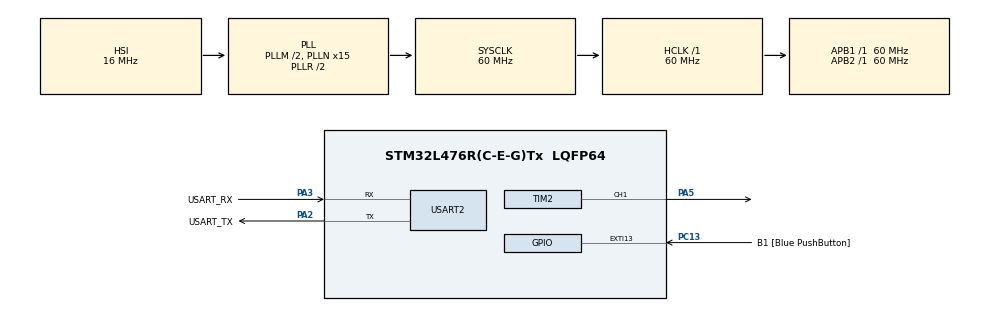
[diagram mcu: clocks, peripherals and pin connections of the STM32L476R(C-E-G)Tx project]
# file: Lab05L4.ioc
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ADC1.Channel-0\#ChannelRegularConversion=ADC_CHANNEL_TEMPSENSOR
ADC1.ClockPrescaler=ADC_CLOCK_SYNC_PCLK_DIV4
ADC1.ContinuousConvMode=DISABLE
ADC1.NbrOfConversion=1
ADC1.NbrOfConversionFlag=1
ADC1.OffsetNumber-0\#ChannelRegularConversion=ADC_OFFSET_NONE
ADC1.Rank-0\#ChannelRegularConversion=1
ADC1.SamplingTime-0\#ChannelRegularConversion=ADC_SAMPLETIME_640CYCLES_5
ADC1.master=1
Mcu.Family=STM32L4
Mcu.Name=STM32L476R(C-E-G)Tx
Mcu.Package=LQFP64
NVIC.EXTI15_10_IRQn=true\:0\:0\:false\:false\:true\:true\:true
NVIC.PriorityGroup=NVIC_PRIORITYGROUP_4
NVIC.TIM6_DAC_IRQn=true\:0\:0\:false\:false\:true\:true\:true
PA13\ (JTMS-SWDIO).GPIO_Label=TMS
PA13\ (JTMS-SWDIO).Mode=Serial_Wire
PA13\ (JTMS-SWDIO).Signal=SYS_JTMS-SWDIO
PA14\ (JTCK-SWCLK).GPIO_Label=TCK
PA14\ (JTCK-SWCLK).Mode=Serial_Wire
PA14\ (JTCK-SWCLK).Signal=SYS_JTCK-SWCLK
PA2.GPIO_Label=USART_TX
PA2.GPIO_Mode=GPIO_MODE_AF_PP
PA2.GPIO_PuPd=GPIO_NOPULL
PA2.GPIO_Speed=GPIO_SPEED_FREQ_VERY_HIGH
PA2.Mode=Asynchronous
PA2.Signal=USART2_TX
PA3.GPIO_Label=USART_RX
PA3.GPIO_Mode=GPIO_MODE_AF_PP
PA3.GPIO_PuPd=GPIO_NOPULL
PA3.GPIO_Speed=GPIO_SPEED_FREQ_VERY_HIGH
PA3.Mode=Asynchronous
PA3.Signal=USART2_RX
PA5.Signal=S_TIM2_CH1
PB3\ (JTDO-TRACESWO).GPIO_Label=SWO
PB3\ (JTDO-TRACESWO).Signal=SYS_JTDO-SWO
PC13.GPIO_Label=B1 [Blue PushButton]
PC13.GPIO_ModeDefaultEXTI=GPIO_MODE_IT_FALLING
PC13.GPIO_PuPd=GPIO_NOPULL
PC13.Signal=GPXTI13
PC14-OSC32_IN\ (PC14).Mode=LSE-External-Oscillator
PC14-OSC32_IN\ (PC14).Signal=RCC_OSC32_IN
PC15-OSC32_OUT\ (PC15).Mode=LSE-External-Oscillator
PC15-OSC32_OUT\ (PC15).Signal=RCC_OSC32_OUT
PH0-OSC_IN\ (PH0).Signal=RCC_OSC_IN
PH1-OSC_OUT\ (PH1).Signal=RCC_OSC_OUT
ProjectManager.HeapSize=0x200
ProjectManager.StackSize=0x400
ProjectManager.TargetToolchain=SW4STM32
RCC.ADCFreq_Value=32000000
RCC.AHBFreq_Value=60000000
RCC.APB1Freq_Value=60000000
RCC.APB1TimFreq_Value=60000000
RCC.APB2Freq_Value=60000000
RCC.APB2TimFreq_Value=60000000
RCC.CortexFreq_Value=60000000
RCC.HCLKFreq_Value=60000000
RCC.HSE_VALUE=8000000
RCC.HSI_VALUE=16000000
RCC.MSI_VALUE=4000000
RCC.PLLM=2
RCC.PLLN=15
RCC.PLLSourceVirtual=RCC_PLLSOURCE_HSI
RCC.PREFETCH_ENABLE=1
RCC.SYSCLKFreq_VALUE=60000000
RCC.SYSCLKSource=RCC_SYSCLKSOURCE_PLLCLK
RCC.USBFreq_Value=32000000
RCC.VCOOutputFreq_Value=120000000
SH.S_TIM2_CH1.0=TIM2_CH1,PWM Generation1 CH1
TIM2.Channel-PWM\ Generation1\ CH1=TIM_CHANNEL_1
TIM2.Period=9
TIM2.Prescaler=59999
TIM6.Period=499
TIM6.Prescaler=59999
USART2.VirtualMode-Asynchronous=VM_ASYNC
VP_ADC1_TempSens_Input.Mode=IN-TempSens
VP_TIM6_VS_ClockSourceINT.Mode=Enable_Timer
board=NUCLEO-L476RG

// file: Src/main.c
/* USER CODE BEGIN Header */
/**
  ******************************************************************************
  * @file           : main.c
  * @brief          : Main program body
  ******************************************************************************
  * @attention
  *
  * <h2><center>&copy; Copyright (c) 2019 STMicroelectronics.
  * All rights reserved.</center></h2>
  *
  * This software component is licensed by ST under BSD 3-Clause license,
  * the "License"; You may not use this file except in compliance with the
  * License. You may obtain a copy of the License at:
  *                        opensource.org/licenses/BSD-3-Clause
  *
  ******************************************************************************
  */
/* USER CODE END Header */

#include "main.h"

/* USER CODE BEGIN Includes */
#include <stdio.h>
/* USER CODE END Includes */

/* USER CODE BEGIN PTD */
#define Vref		3300.0f
#define Avg_Slope	2.50f
#define V25			760.0f

#define TS110 	((uint16_t*)((uint32_t) 0x1FFF75CA))// calibrated at 3.3V +-10mV @110C +/- 5C
#define TS30 	((uint16_t*)((uint32_t) 0x1FFF75A8))// calibrated at 3.3V +-10mV @ 30C +/- 5C
#define VREF    ((uint16_t*)((uint32_t) 0x1FFF75AA))// calibrated at 3.3V +-10mV @ 30C +/- 5C

/* USER CODE END PTD */

ADC_HandleTypeDef hadc1;

TIM_HandleTypeDef htim2;
TIM_HandleTypeDef htim6;

UART_HandleTypeDef huart2;

/* USER CODE BEGIN PV */

volatile uint16_t press_number = 0;

uint8_t idx = 0;
uint16_t periods[4] = {249, 499, 999, 1999};
uint8_t pulse[4] = {1, 4, 9, 0};

uint8_t dc, step = 0;

uint8_t flag = 1;

uint8_t buffer[50];

/* USER CODE END PV */

void SystemClock_Config(void);
static void MX_GPIO_Init(void);
static void MX_USART2_UART_Init(void);
static void MX_TIM2_Init(void);
static void MX_TIM6_Init(void);
static void MX_ADC1_Init(void);
/* USER CODE BEGIN PFP */
void pwm_dc(uint16_t val);
uint16_t get_ADC();
float ConvertTemp(uint16_t adc_raw);
/* USER CODE END PFP */

int main(void)
{

  /* MCU Configuration--------------------------------------------------------*/

  /* Reset of all peripherals, Initializes the Flash interface and the Systick. */
  HAL_Init();

  /* Configure the system clock */
  SystemClock_Config();

  /* Initialize all configured peripherals */
  MX_GPIO_Init();
  MX_USART2_UART_Init();
  MX_TIM2_Init();
  MX_TIM6_Init();
  MX_ADC1_Init();
  /* USER CODE BEGIN 2 */

  HAL_TIM_Base_Start_IT(&htim6);

  /* USER CODE END 2 */

  /* Infinite loop */
  while (1)
  {

  }
}

void SystemClock_Config(void)
{
  RCC_OscInitTypeDef RCC_OscInitStruct = {0};
  RCC_ClkInitTypeDef RCC_ClkInitStruct = {0};
  RCC_PeriphCLKInitTypeDef PeriphClkInit = {0};

  /** Initializes the CPU, AHB and APB busses clocks
  */
  RCC_OscInitStruct.OscillatorType = RCC_OSCILLATORTYPE_HSI;
  RCC_OscInitStruct.HSIState = RCC_HSI_ON;
  RCC_OscInitStruct.HSICalibrationValue = RCC_HSICALIBRATION_DEFAULT;
  RCC_OscInitStruct.PLL.PLLState = RCC_PLL_ON;
  RCC_OscInitStruct.PLL.PLLSource = RCC_PLLSOURCE_HSI;
  RCC_OscInitStruct.PLL.PLLM = 2;
  RCC_OscInitStruct.PLL.PLLN = 15;
  RCC_OscInitStruct.PLL.PLLP = RCC_PLLP_DIV7;
  RCC_OscInitStruct.PLL.PLLQ = RCC_PLLQ_DIV2;
  RCC_OscInitStruct.PLL.PLLR = RCC_PLLR_DIV2;
  if (HAL_RCC_OscConfig(&RCC_OscInitStruct) != HAL_OK)
  {
    Error_Handler();
  }
  /** Initializes the CPU, AHB and APB busses clocks
  */
  RCC_ClkInitStruct.ClockType = RCC_CLOCKTYPE_HCLK|RCC_CLOCKTYPE_SYSCLK
                              |RCC_CLOCKTYPE_PCLK1|RCC_CLOCKTYPE_PCLK2;
  RCC_ClkInitStruct.SYSCLKSource = RCC_SYSCLKSOURCE_PLLCLK;
  RCC_ClkInitStruct.AHBCLKDivider = RCC_SYSCLK_DIV1;
  RCC_ClkInitStruct.APB1CLKDivider = RCC_HCLK_DIV1;
  RCC_ClkInitStruct.APB2CLKDivider = RCC_HCLK_DIV1;

  if (HAL_RCC_ClockConfig(&RCC_ClkInitStruct, FLASH_LATENCY_3) != HAL_OK)
  {
    Error_Handler();
  }
  PeriphClkInit.PeriphClockSelection = RCC_PERIPHCLK_USART2;
  PeriphClkInit.Usart2ClockSelection = RCC_USART2CLKSOURCE_PCLK1;
  if (HAL_RCCEx_PeriphCLKConfig(&PeriphClkInit) != HAL_OK)
  {
    Error_Handler();
  }
  /** Configure the main internal regulator output voltage
  */
  if (HAL_PWREx_ControlVoltageScaling(PWR_REGULATOR_VOLTAGE_SCALE1) != HAL_OK)
  {
    Error_Handler();
  }
}

static void MX_ADC1_Init(void)
{

  ADC_MultiModeTypeDef multimode = {0};
  ADC_ChannelConfTypeDef sConfig = {0};

  /** Common config
  */
  hadc1.Instance = ADC1;
  hadc1.Init.ClockPrescaler = ADC_CLOCK_SYNC_PCLK_DIV4;
  hadc1.Init.Resolution = ADC_RESOLUTION_12B;
  hadc1.Init.DataAlign = ADC_DATAALIGN_RIGHT;
  hadc1.Init.ScanConvMode = ADC_SCAN_DISABLE;
  hadc1.Init.EOCSelection = ADC_EOC_SINGLE_CONV;
  hadc1.Init.LowPowerAutoWait = DISABLE;
  hadc1.Init.ContinuousConvMode = DISABLE;
  hadc1.Init.NbrOfConversion = 1;
  hadc1.Init.DiscontinuousConvMode = DISABLE;
  hadc1.Init.ExternalTrigConv = ADC_SOFTWARE_START;
  hadc1.Init.ExternalTrigConvEdge = ADC_EXTERNALTRIGCONVEDGE_NONE;
  hadc1.Init.DMAContinuousRequests = DISABLE;
  hadc1.Init.Overrun = ADC_OVR_DATA_PRESERVED;
  hadc1.Init.OversamplingMode = DISABLE;
  if (HAL_ADC_Init(&hadc1) != HAL_OK)
  {
    Error_Handler();
  }
  /** Configure the ADC multi-mode
  */
  multimode.Mode = ADC_MODE_INDEPENDENT;
  if (HAL_ADCEx_MultiModeConfigChannel(&hadc1, &multimode) != HAL_OK)
  {
    Error_Handler();
  }
  /** Configure Regular Channel
  */
  sConfig.Channel = ADC_CHANNEL_TEMPSENSOR;
  sConfig.Rank = ADC_REGULAR_RANK_1;
  sConfig.SamplingTime = ADC_SAMPLETIME_640CYCLES_5;
  sConfig.SingleDiff = ADC_SINGLE_ENDED;
  sConfig.OffsetNumber = ADC_OFFSET_NONE;
  sConfig.Offset = 0;
  if (HAL_ADC_ConfigChannel(&hadc1, &sConfig) != HAL_OK)
  {
    Error_Handler();
  }

}

static void MX_TIM2_Init(void)
{

  TIM_MasterConfigTypeDef sMasterConfig = {0};
  TIM_OC_InitTypeDef sConfigOC = {0};

  htim2.Instance = TIM2;
  htim2.Init.Prescaler = 59999;
  htim2.Init.CounterMode = TIM_COUNTERMODE_UP;
  htim2.Init.Period = 9;
  htim2.Init.ClockDivision = TIM_CLOCKDIVISION_DIV1;
  htim2.Init.AutoReloadPreload = TIM_AUTORELOAD_PRELOAD_DISABLE;
  if (HAL_TIM_PWM_Init(&htim2) != HAL_OK)
  {
    Error_Handler();
  }
  sMasterConfig.MasterOutputTrigger = TIM_TRGO_RESET;
  sMasterConfig.MasterSlaveMode = TIM_MASTERSLAVEMODE_DISABLE;
  if (HAL_TIMEx_MasterConfigSynchronization(&htim2, &sMasterConfig) != HAL_OK)
  {
    Error_Handler();
  }
  sConfigOC.OCMode = TIM_OCMODE_PWM1;
  sConfigOC.Pulse = 0;
  sConfigOC.OCPolarity = TIM_OCPOLARITY_HIGH;
  sConfigOC.OCFastMode = TIM_OCFAST_DISABLE;
  if (HAL_TIM_PWM_ConfigChannel(&htim2, &sConfigOC, TIM_CHANNEL_1) != HAL_OK)
  {
    Error_Handler();
  }
  HAL_TIM_MspPostInit(&htim2);

}

static void MX_TIM6_Init(void)
{

  TIM_MasterConfigTypeDef sMasterConfig = {0};

  htim6.Instance = TIM6;
  htim6.Init.Prescaler = 59999;
  htim6.Init.CounterMode = TIM_COUNTERMODE_UP;
  htim6.Init.Period = 499;
  htim6.Init.AutoReloadPreload = TIM_AUTORELOAD_PRELOAD_DISABLE;
  if (HAL_TIM_Base_Init(&htim6) != HAL_OK)
  {
    Error_Handler();
  }
  sMasterConfig.MasterOutputTrigger = TIM_TRGO_RESET;
  sMasterConfig.MasterSlaveMode = TIM_MASTERSLAVEMODE_DISABLE;
  if (HAL_TIMEx_MasterConfigSynchronization(&htim6, &sMasterConfig) != HAL_OK)
  {
    Error_Handler();
  }

}

static void MX_USART2_UART_Init(void)
{

  huart2.Instance = USART2;
  huart2.Init.BaudRate = 115200;
  huart2.Init.WordLength = UART_WORDLENGTH_8B;
  huart2.Init.StopBits = UART_STOPBITS_1;
  huart2.Init.Parity = UART_PARITY_NONE;
  huart2.Init.Mode = UART_MODE_TX_RX;
  huart2.Init.HwFlowCtl = UART_HWCONTROL_NONE;
  huart2.Init.OverSampling = UART_OVERSAMPLING_16;
  huart2.Init.OneBitSampling = UART_ONE_BIT_SAMPLE_DISABLE;
  huart2.AdvancedInit.AdvFeatureInit = UART_ADVFEATURE_NO_INIT;
  if (HAL_UART_Init(&huart2) != HAL_OK)
  {
    Error_Handler();
  }

}

static void MX_GPIO_Init(void)
{
  GPIO_InitTypeDef GPIO_InitStruct = {0};

  /* GPIO Ports Clock Enable */
  __HAL_RCC_GPIOC_CLK_ENABLE();
  __HAL_RCC_GPIOH_CLK_ENABLE();
  __HAL_RCC_GPIOA_CLK_ENABLE();
  __HAL_RCC_GPIOB_CLK_ENABLE();

  /*Configure GPIO pin : B1_Pin */
  GPIO_InitStruct.Pin = B1_Pin;
  GPIO_InitStruct.Mode = GPIO_MODE_IT_FALLING;
  GPIO_InitStruct.Pull = GPIO_NOPULL;
  HAL_GPIO_Init(B1_GPIO_Port, &GPIO_InitStruct);

  /* EXTI interrupt init*/
  HAL_NVIC_SetPriority(EXTI15_10_IRQn, 0, 0);
  HAL_NVIC_EnableIRQ(EXTI15_10_IRQn);

}

/* USER CODE BEGIN 4 */
void HAL_GPIO_EXTI_Callback(uint16_t GPIO_Pin){

	if(GPIO_Pin == GPIO_PIN_13){						//Check if the interrupt comes from the right GPIO

     HAL_UART_Transmit(&huart2, "Hello from STM32\n", sizeof("Hello from STM32\n"), 5000);

	}
}

void HAL_TIM_PeriodElapsedCallback(TIM_HandleTypeDef *htim){

	sprintf(buffer, "Temp: %f \n\r", ConvertTemp(get_ADC()));

	HAL_UART_Transmit(&huart2, buffer, sizeof(buffer), 5000);

	double t = ConvertTemp(get_ADC());
	//double t = get_ADC();

	if(t < 20)
		pwm_dc(3);

	else if( t >= 20 && t <= 22)
		pwm_dc(4);

	else
		pwm_dc(9);

	sprintf((char*)buffer, "Temp: %4.2lf \n\r", t);

	HAL_UART_Transmit(&huart2, buffer, sizeof(buffer), 5000);

}

void pwm_dc(uint16_t val){

	HAL_TIM_PWM_Stop(&htim2, TIM_CHANNEL_1);

	TIM2->CCR1 = val;

	HAL_TIM_PWM_Start(&htim2, TIM_CHANNEL_1);

}

float ConvertTemp(uint16_t D_ADC){

	float V_ADC = (D_ADC * ( Vref / 4095.0 ));			// Convert bit to voltage
	float processorTemp;                    			// the temperature in degree Celsius

	processorTemp =  V_ADC - V25;
	processorTemp /= Avg_Slope ;
	processorTemp += 45;								//Temperature offset
														//to be calibrated
	return processorTemp;
}

uint16_t get_ADC(){

	HAL_ADC_Start(&hadc1);
	HAL_ADC_PollForConversion(&hadc1, 1000);
	uint16_t value = HAL_ADC_GetValue(&hadc1);
	HAL_ADC_Stop(&hadc1);

	return value;
}

/* USER CODE END 4 */

void Error_Handler(void)
{
}

/************************ (C) COPYRIGHT STMicroelectronics *****END OF FILE****/
